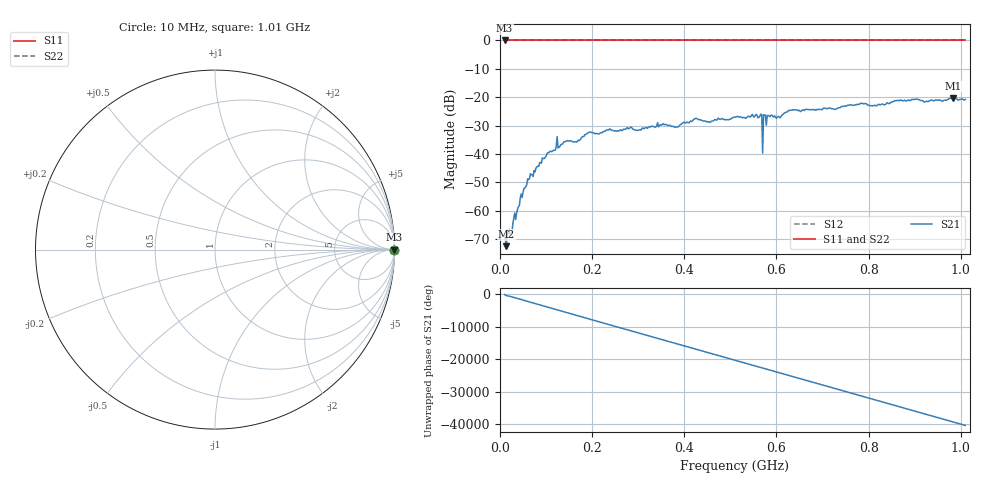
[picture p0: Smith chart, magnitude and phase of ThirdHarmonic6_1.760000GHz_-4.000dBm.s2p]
! 8/16/2025 9:14:31 PM
! C:\ANRITSUVNA\TEMP\TEMP.S2P
! CHANNEL.1
! TR.MEASUREMENT
! RAW.DATA
! RF.CORRECTION.OFF
! AVERAGING.OFF
! IF.BANDWIDTH: 5KHZ
! SWEEPTYPE:  FREQ.SWEEP(Linear)
! Reference Plane Port Info
! PORT:  PORT1  PORT2
! DISTANCE:  0  m  0  m
! TIME:  0  s  0  s
! PHASE.OFFSET:  0  deg.  0  deg.
! LOSS:  0  dB  0  dB
! REF.LOSS:  0  dB  0  dB
! REF.FREQ:  0  Hz  0  Hz
! Power Info
! POWER:  -20  dBm  -20  dBm
! EFF.POWER:  -20  dBm  -20  dBm
! SOURCE.ATTEN:  0  dB  0  dB
! TEST.ATTEN:  0  dB  0  dB
# GHZ S RI R 50.0
! FREQ.GHZ  S11RE  S11IM  S21RE  S21IM  S12RE  S12IM  S22RE  S22IM
!; PortSelection: Port_12
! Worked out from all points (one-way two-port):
!   501 points, 10 MHz to 1.01 GHz, reference 50 ohm
!   highest |S21| = -20.24 dB at 984 MHz (marker M1); lowest = -72.5 dB at 14 MHz (marker M2)
!   lowest |S11| = 0.0 dB at 10 MHz (marker M3)
!   |S11| at or under -10 dB: nowhere
!   |S22| runs from 0.0 to 0.0 dB; largest |S21 - S12| = 1.1
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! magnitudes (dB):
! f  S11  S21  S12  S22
! 10 MHz  0.0  -68.2  0.0  0.0
! 14 MHz  0.0  -72.5  0.0  0.0
! 26 MHz  0.0  -67.6  0.0  0.0
! 48 MHz  0.0  -55.4  0.0  0.0
! 64 MHz  0.0  -48.6  0.0  0.0
! 90 MHz  0.0  -43.2  0.0  0.0
! 126 MHz  0.0  -37.9  0.0  0.0
! 178 MHz  0.0  -34.1  0.0  0.0
! 196 MHz  0.0  -32.3  0.0  0.0
! 344 MHz  0.0  -30.4  0.0  0.0
! 382 MHz  0.0  -30.5  0.0  0.0
! 424 MHz  0.0  -27.5  0.0  0.0
! 510 MHz  0.0  -27.0  0.0  0.0
! 564 MHz  0.0  -26.7  0.0  0.0
! 566 MHz  0.0  -26.0  0.0  0.0
! 574 MHz  0.0  -26.2  0.0  0.0
! 576 MHz  0.0  -26.3  0.0  0.0
! 584 MHz  0.0  -26.6  0.0  0.0
! 678 MHz  0.0  -24.5  0.0  0.0
! 844 MHz  0.0  -22.3  0.0  0.0
! 984 MHz  0.0  -20.2  0.0  0.0
! 1.01 GHz  0.0  -20.8  0.0  0.0
